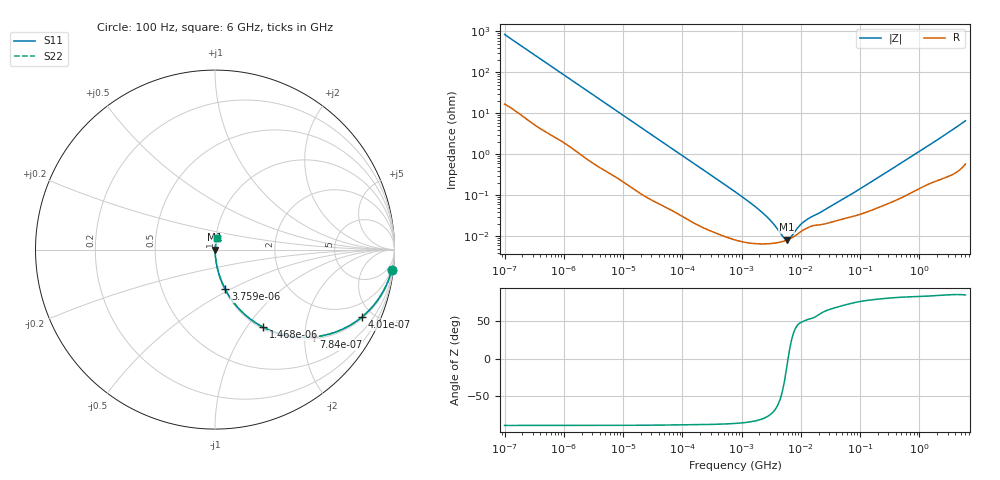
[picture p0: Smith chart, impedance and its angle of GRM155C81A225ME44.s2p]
!Murata Part Number: GRM155C81A225ME44
!These Parameters are Measured in Series Mode Connection
!Data Generated on Mar 30, 2021
!  o--ll--o
!Port1  Port2
!  o------o
!Operation Temp=25[degC], DC Bias Voltage=0[V]
!Freq. Start=100[Hz] Stop=6[GHz] 401[Steps]
# Hz S RI R 50
!Freq.(Hz) S11(Real) S11(Imag) S21(Real) S21(Imag) S12(Real) S12(Imag) S22(Real) S22(Imag)
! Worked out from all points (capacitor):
!   401 points, 100 Hz to 6 GHz, reference 50 ohm
!   read as one part in series: C = 1.87 uF near 109 Hz
!   lowest |Z| = 8.23 mohm at 5.809 MHz (marker M1)
!   series resonance near 6.091 MHz, so ESL is about 360 pH
!   S11 on the Smith chart (normalised r, x): 100 Hz: 1, -17; 401 Hz: 1.09, -4.30; 784 Hz: 1.05, -2.22; 1.468 kHz: 1.03, -1.20; 3.759 kHz: 1.01, -0.47; 6 GHz: 1.01, +0.13
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100  0.9839 -0.1161  0.0161 0.1161  0.0161 0.1161  0.9839 -0.1161
224  0.9317 -0.2424  0.0683 0.2424  0.0683 0.2424  0.9317 -0.2424
401  0.8174 -0.3766  0.1826 0.3766  0.1826 0.3766  0.8174 -0.3766
784  0.5501 -0.4868  0.4499 0.4868  0.4499 0.4868  0.5501 -0.4868
1073  0.4007 -0.4791  0.5993 0.4791  0.5993 0.4791  0.4007 -0.4791
1468  0.2679 -0.432  0.7321 0.432  0.7321 0.432  0.2679 -0.432
2008  0.1668 -0.3622  0.8332 0.3622  0.8332 0.3622  0.1668 -0.3622
3759  0.0572 -0.2216  0.9428 0.2216  0.9428 0.2216  0.0572 -0.2216
10066  0.01 -0.0884  0.99 0.0884  0.99 0.0884  0.01 -0.0884
40335  0.00114 -0.0227  0.9989 0.0227  0.9989 0.0227  0.00114 -0.0227
774597  8.32e-05 -0.00123  0.9999 0.00123  0.9999 0.00123  8.32e-05 -0.00123
2074311  6.56e-05 -0.000414  0.9999 0.000414  0.9999 0.000414  6.56e-05 -0.000414
3103719  6.67e-05 -0.000232  0.9999 0.000232  0.9999 0.000232  6.67e-05 -0.000232
4856642  7.44e-05 -7.24e-05  0.9999 7.24e-05  0.9999 7.24e-05  7.44e-05 -7.24e-05
5809218  8.09e-05 -1.49e-05  0.9999 1.49e-05  0.9999 1.49e-05  8.09e-05 -1.49e-05
6948629  9.1e-05 4.12e-05  0.9999 -4.12e-05  0.9999 -4.12e-05  9.1e-05 4.12e-05
1.039699e7  0.000136 0.000156  0.9999 -0.000156  0.9999 -0.000156  0.000136 0.000156
1.555665e7  0.00018 0.000247  0.9998 -0.000247  0.9998 -0.000247  0.00018 0.000247
6.233367e7  0.000285 0.00091  0.9997 -0.00091  0.9997 -0.00091  0.000285 0.00091
3.124326e8  0.000662 0.00399  0.9993 -0.00399  0.9993 -0.00399  0.000662 0.00399
1.873145e9  0.00264 0.021  0.9974 -0.021  0.9974 -0.021  0.00264 0.021
6e9  0.01 0.0648  0.99 -0.0648  0.99 -0.0648  0.01 0.0648
